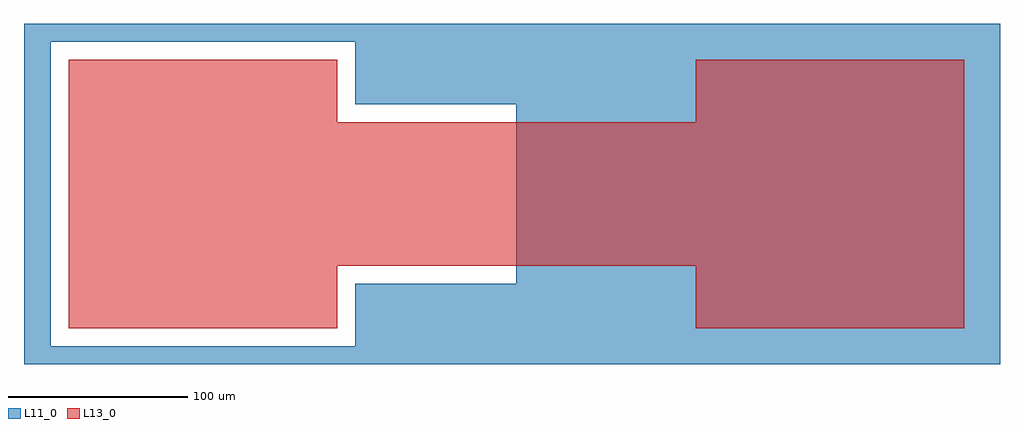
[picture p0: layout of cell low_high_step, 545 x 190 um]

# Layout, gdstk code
import gdstk
lib = gdstk.Library(unit=1e-6, precision=1e-09)
def R(c, l, rs):  # rectangles x0, y0, x1, y1
    for r in rs: c.add(gdstk.rectangle(r[:2], r[2:], *l))
L11_0 = (11, 0)
L13_0 = (13, 0)

low_high_step = lib.new_cell('low_high_step')
R(low_high_step, L11_0, [(-275,-95,-260,95), (-260,-95,-90,-85), (-90,-95,0,-50), (0,-95,270,95), (-90,50,0,95), (-260,85,-90,95)])
R(low_high_step, L13_0, [(-250,-75,-100,75), (100,-75,250,75), (-100,-40,100,40)])

lib.write_gds('low_high_step.gds')
